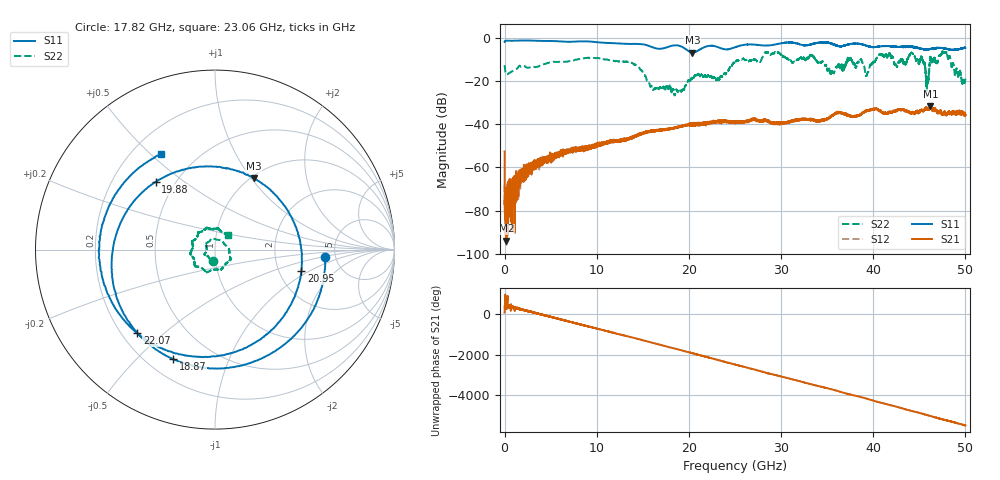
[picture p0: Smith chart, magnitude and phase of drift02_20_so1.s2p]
!Created with skrf (http://scikit-rf.org).
# Hz S RI R 50.0
!freq ReS11 ImS11 ReS21 ImS21 ReS12 ImS12 ReS22 ImS22
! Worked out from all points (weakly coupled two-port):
!   10001 points, 300 kHz to 50 GHz, reference 50 ohm
!   highest |S21| = -31.72 dB at 46.2 GHz (marker M1); lowest = -94.0 dB at 200.3 MHz (marker M2)
!   lowest |S11| = -6.9 dB at 20.38 GHz (marker M3), VSWR 2.64, Z = 51.5 + j51.2 ohm
!   |S11| at or under -10 dB: nowhere
!   |S22| runs from -26.7 to -6.2 dB; largest |S21 - S12| = 0.0031
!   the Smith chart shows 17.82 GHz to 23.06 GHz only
!   S11 on the Smith chart (normalised r, x): 17.82 GHz: 4.14, -0.55; 18.87 GHz: 0.30, -0.65; 19.88 GHz: 0.39, +0.39; 20.95 GHz: 2.67, -0.83; 22.07 GHz: 0.26, -0.41; 23.06 GHz: 0.32, +0.54
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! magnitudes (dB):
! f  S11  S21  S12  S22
! 300 kHz  -2.0  -52.6  -68.1  -12.8
! 200.3 MHz  -1.4  -94.0  -74.0  -17.0
! 3.225 GHz  -1.5  -58.5  -59.9  -13.5
! 8.335 GHz  -1.7  -51.5  -51.2  -9.7
! 13.7 GHz  -2.9  -46.6  -46.3  -11.6
! 16.67 GHz  -5.2  -43.1  -42.9  -23.5
! 17.82 GHz  -4.2  -42.2  -42.3  -23.5
! 18.87 GHz  -3.7  -41.4  -41.4  -24.4
! 19.88 GHz  -6.0  -40.3  -40.5  -20.2
! 20.38 GHz  -6.9  -40.1  -40.1  -18.9
! 20.95 GHz  -6.1  -40.1  -40.0  -17.0
! 22.07 GHz  -3.9  -39.0  -39.9  -17.3
! 23.06 GHz  -4.3  -38.8  -38.7  -19.0
! 25 GHz  -4.5  -38.9  -39.3  -11.4
! 33.34 GHz  -3.0  -38.1  -38.0  -8.4
! 39.32 GHz  -3.8  -33.8  -33.9  -17.1
! 41.67 GHz  -4.0  -34.8  -34.8  -7.8
! 44.26 GHz  -4.3  -34.6  -34.6  -7.5
! 45.85 GHz  -5.5  -33.2  -33.2  -20.9
! 46.2 GHz  -5.2  -31.7  -31.6  -9.3
! 47.75 GHz  -5.0  -34.7  -34.4  -7.1
! 50 GHz  -4.8  -36.0  -35.4  -19.5
